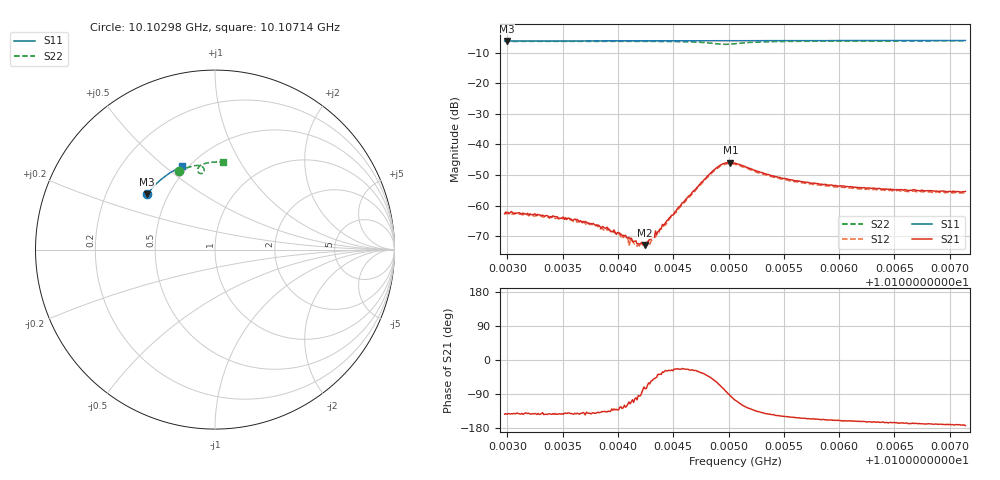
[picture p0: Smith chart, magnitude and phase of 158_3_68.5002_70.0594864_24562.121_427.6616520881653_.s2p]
#  HZ  S  RI  R  50.00
! Rohde & Schwarz Vector Network Analyzer
! Rohde-Schwarz,ZNB20-2Port,1311601062101988,3.16
! Created: UTC 3/20/2024, 5:10:49 PM
! freq[Hz]  re:S11  im:S11  re:S21  im:S21  re:S12  im:S12  re:S22  im:S22
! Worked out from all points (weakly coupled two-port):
!   401 points, 10.10298 GHz to 10.10714 GHz, reference 50 ohm
!   highest |S21| = -45.91 dB at 10.10502 GHz (marker M1); lowest = -72.8 dB at 10.10425 GHz (marker M2)
!   lowest |S11| = -6.2 dB at 10.103 GHz (marker M3), VSWR 2.90, Z = 19.1 + j15.5 ohm
!   |S11| at or under -10 dB: nowhere
!   |S22| runs from -7.3 to -6.2 dB; largest |S21 - S12| = 0.00054
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1.0102975e10  -0.3789 0.3073  -0.000589 -0.000445  -0.00055 -0.000527  -0.2013 0.4357
1.0102996e10  -0.3781 0.3083  -0.000619 -0.000466  -0.000561 -0.000503  -0.2 0.4364
1.0103433e10  -0.3617 0.3295  -0.000517 -0.000416  -0.000438 -0.000432  -0.1736 0.4489
1.0103673e10  -0.3521 0.3404  -0.000413 -0.000335  -0.000373 -0.000389  -0.1583 0.455
1.0103808e10  -0.3467 0.3466  -0.000356 -0.000311  -0.000332 -0.00036  -0.1494 0.4582
1.0103881e10  -0.3437 0.3499  -0.000307 -0.000301  -0.000273 -0.000302  -0.1445 0.4598
1.0103986e10  -0.3393 0.3545  -0.000218 -0.000259  -0.000225 -0.0003  -0.1373 0.462
1.0104069e10  -0.3357 0.3582  -0.000186 -0.00027  -0.000144 -0.000276  -0.1313 0.4637
1.010409e10  -0.335 0.3591  -0.000131 -0.00027  -0.00012 -0.000276  -0.1298 0.4642
1.0104173e10  -0.3313 0.3626  -6.22e-05 -0.000229  -1.23e-05 -0.000218  -0.1236 0.4656
1.0104246e10  -0.3282 0.3657  5.63e-05 -0.000221  7.27e-05 -0.000229  -0.1179 0.4667
1.0104288e10  -0.3264 0.3675  0.000127 -0.000252  0.000135 -0.000192  -0.1146 0.4674
1.0104371e10  -0.3227 0.371  0.000305 -0.000243  0.000313 -0.000183  -0.1075 0.4685
1.0104558e10  -0.3144 0.3788  0.000881 -0.000407  0.000886 -0.00029  -0.0898 0.4686
1.0104829e10  -0.3019 0.3895  0.00235 -0.00232  0.00244 -0.002  -0.0607 0.4481
1.0104934e10  -0.2971 0.3934  0.0016 -0.00441  0.0019 -0.00407  -0.067 0.4275
1.0105017e10  -0.2932 0.3964  -0.000436 -0.00505  6.63e-05 -0.00485  -0.0857 0.4252
1.0105059e10  -0.2914 0.3981  -0.00134 -0.00475  -0.000813 -0.00467  -0.0926 0.4308
1.0105392e10  -0.2753 0.4106  -0.0025 -0.00179  -0.00226 -0.00194  -0.0791 0.4701
1.0105756e10  -0.2573 0.4232  -0.00213 -0.000955  -0.00194 -0.0011  -0.0498 0.4813
1.0106454e10  -0.2211 0.4451  -0.00179 -0.000481  -0.00167 -0.000598  -0.00073 0.4879
1.0107142e10  -0.1837 0.4633  -0.0017 -0.000209  -0.00156 -0.000367  0.0448 0.488
